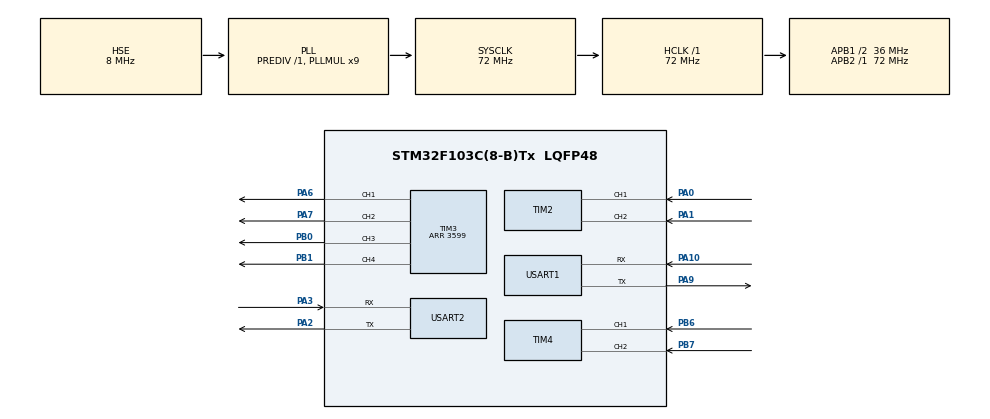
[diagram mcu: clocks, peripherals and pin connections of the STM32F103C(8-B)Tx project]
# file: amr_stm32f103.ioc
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Mcu.Family=STM32F1
Mcu.Name=STM32F103C(8-B)Tx
Mcu.Package=LQFP48
NVIC.PriorityGroup=NVIC_PRIORITYGROUP_4
NVIC.USART2_IRQn=true\:0\:0\:false\:false\:true\:true\:true\:true
PA0-WKUP.Signal=S_TIM2_CH1_ETR
PA1.Signal=S_TIM2_CH2
PA10.Mode=Asynchronous
PA10.Signal=USART1_RX
PA13.Mode=Serial_Wire
PA13.Signal=SYS_JTMS-SWDIO
PA14.Mode=Serial_Wire
PA14.Signal=SYS_JTCK-SWCLK
PA2.Mode=Asynchronous
PA2.Signal=USART2_TX
PA3.Mode=Asynchronous
PA3.Signal=USART2_RX
PA6.Signal=S_TIM3_CH1
PA7.Signal=S_TIM3_CH2
PA9.Mode=Asynchronous
PA9.Signal=USART1_TX
PB0.Signal=S_TIM3_CH3
PB1.Signal=S_TIM3_CH4
PB6.Signal=S_TIM4_CH1
PB7.Signal=S_TIM4_CH2
PD0-OSC_IN.Mode=HSE-External-Oscillator
PD0-OSC_IN.Signal=RCC_OSC_IN
PD1-OSC_OUT.Mode=HSE-External-Oscillator
PD1-OSC_OUT.Signal=RCC_OSC_OUT
ProjectManager.HeapSize=0x200
ProjectManager.StackSize=0x400
ProjectManager.TargetToolchain=STM32CubeIDE
RCC.AHBFreq_Value=72000000
RCC.APB1CLKDivider=RCC_HCLK_DIV2
RCC.APB1Freq_Value=36000000
RCC.APB1TimFreq_Value=72000000
RCC.APB2Freq_Value=72000000
RCC.APB2TimFreq_Value=72000000
RCC.HCLKFreq_Value=72000000
RCC.PLLMUL=RCC_PLL_MUL9
RCC.PLLSourceVirtual=RCC_PLLSOURCE_HSE
RCC.SYSCLKFreq_VALUE=72000000
RCC.SYSCLKSource=RCC_SYSCLKSOURCE_PLLCLK
RCC.USBFreq_Value=72000000
SH.S_TIM2_CH1_ETR.0=TIM2_CH1,Encoder_Interface
SH.S_TIM2_CH2.0=TIM2_CH2,Encoder_Interface
SH.S_TIM3_CH1.0=TIM3_CH1,PWM Generation1 CH1
SH.S_TIM3_CH2.0=TIM3_CH2,PWM Generation2 CH2
SH.S_TIM3_CH3.0=TIM3_CH3,PWM Generation3 CH3
SH.S_TIM3_CH4.0=TIM3_CH4,PWM Generation4 CH4
SH.S_TIM4_CH1.0=TIM4_CH1,Encoder_Interface
SH.S_TIM4_CH2.0=TIM4_CH2,Encoder_Interface
TIM2.EncoderMode=TIM_ENCODERMODE_TI12
TIM3.Channel-PWM\ Generation1\ CH1=TIM_CHANNEL_1
TIM3.Channel-PWM\ Generation2\ CH2=TIM_CHANNEL_2
TIM3.Channel-PWM\ Generation3\ CH3=TIM_CHANNEL_3
TIM3.Channel-PWM\ Generation4\ CH4=TIM_CHANNEL_4
TIM3.Period=3599
TIM4.EncoderMode=TIM_ENCODERMODE_TI12
USART1.VirtualMode=VM_ASYNC
USART2.VirtualMode=VM_ASYNC
board=custom

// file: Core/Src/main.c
/* USER CODE BEGIN Header */
/**
  ******************************************************************************
  * @file           : main.c
  * @brief          : Main program body
  ******************************************************************************
  * @attention
  *
  * Copyright (c) 2026 STMicroelectronics.
  * All rights reserved.
  *
  * This software is licensed under terms that can be found in the LICENSE file
  * in the root directory of this software component.
  * If no LICENSE file comes with this software, it is provided AS-IS.
  *
  ******************************************************************************
  */
/* USER CODE END Header */
#include "main.h"

/* USER CODE BEGIN Includes */
#include <stdio.h>          /* snprintf cho debug output */
#include "motor_driver.h"
#include "servo_buslinker.h"
#include "jetson_comm.h"
#include "ackermann.h"
/* USER CODE END Includes */

TIM_HandleTypeDef htim2;
TIM_HandleTypeDef htim3;
TIM_HandleTypeDef htim4;

UART_HandleTypeDef huart1;
UART_HandleTypeDef huart2;

/* USER CODE BEGIN PV */
static uint32_t last_odom_ms = 0;     /* Mốc thời gian gửi odom gần nhất */
static float    current_steer = 0.0f; /* Góc lái hiện tại (độ) để gửi lên Jetson */

/* ===== Watchdog lệnh $VEL từ Jetson (AN TOÀN — bắt buộc, xem giải thích ở
 * vòng lặp chính bên dưới). Nếu Jetson ngừng gửi lệnh (crash, kill node, rút
 * cáp USART2), STM32 phải tự dừng motor, không thể trông chờ Jetson luôn gửi
 * lệnh đều đặn. ===== */
#define VEL_WATCHDOG_TIMEOUT_MS   300U  /* CẦN TUNE thực nghiệm: đủ ngắn để an
                                          * toàn, đủ dài để không dừng nhầm do
                                          * jitter mạng/CPU phía Jetson */
static uint32_t last_vel_rx_ms       = 0; /* Mốc thời gian nhận $VEL hợp lệ gần nhất */
static uint8_t  vel_watchdog_tripped = 0; /* Tránh gọi SetSpeed(0,0) lặp lại mỗi vòng lặp */
/* USER CODE END PV */

void SystemClock_Config(void);
static void MX_GPIO_Init(void);
static void MX_TIM2_Init(void);
static void MX_TIM3_Init(void);
static void MX_TIM4_Init(void);
static void MX_USART1_UART_Init(void);
static void MX_USART2_UART_Init(void);
/* USER CODE BEGIN PFP */
static void on_cmd_vel(float linear, float angular);
/* USER CODE END PFP */

int main(void)
{

  /* MCU Configuration--------------------------------------------------------*/

  /* Reset of all peripherals, Initializes the Flash interface and the Systick. */
  HAL_Init();

  /* Configure the system clock */
  SystemClock_Config();

  /* Initialize all configured peripherals */
  MX_GPIO_Init();
  MX_TIM2_Init();
  MX_TIM3_Init();
  MX_TIM4_Init();
  MX_USART1_UART_Init();
  MX_USART2_UART_Init();
  /* USER CODE BEGIN 2 */
  HAL_Delay(500);          // Đủ để các module boot, không trigger motor timeout
  DRV_Motor_Init();        // Không check return — tiếp tục dù config fail
  DRV_Servo_Init();        // Servo về vị trí trung tâm (lái thẳng)
  APP_Comm_Init(on_cmd_vel); // Bật UART2 nhận lệnh "$VEL" từ Jetson
  /* USER CODE END 2 */

  /* Infinite loop */
  while (1)
  {

    /* USER CODE BEGIN 3 */
    /* ---- Gửi odometry lên Jetson định kỳ mỗi 10ms (100 Hz) ---- */
    uint32_t now = HAL_GetTick();
    if (now - last_odom_ms >= 10U) {
        last_odom_ms = now;

        /* Đọc encoder 2 bánh */
        int32_t enc_l = 0, enc_r = 0;
        DRV_Motor_GetEncoder(&enc_l, &enc_r);

        /* Gửi "$ODO,enc_l,enc_r,steer\n" lên Jetson */
        APP_Comm_SendOdom(enc_l, enc_r, current_steer);
    }

    /* ---- Xử lý lệnh "$VEL" nhận từ Jetson (gọi on_cmd_vel khi đủ frame) ---- */
    APP_Comm_Parse();

    /* ---- AN TOÀN: watchdog $VEL — xem giải thích đầy đủ ở khai báo biến
     * last_vel_rx_ms phía trên. ---- */
    if (last_vel_rx_ms != 0U && !vel_watchdog_tripped &&
        (now - last_vel_rx_ms) > VEL_WATCHDOG_TIMEOUT_MS) {
        DRV_Motor_SetSpeed(0, 0);
        vel_watchdog_tripped = 1U;
    }
  }
  /* USER CODE END 3 */
}

void SystemClock_Config(void)
{
  RCC_OscInitTypeDef RCC_OscInitStruct = {0};
  RCC_ClkInitTypeDef RCC_ClkInitStruct = {0};

  /** Initializes the RCC Oscillators according to the specified parameters
  * in the RCC_OscInitTypeDef structure.
  */
  RCC_OscInitStruct.OscillatorType = RCC_OSCILLATORTYPE_HSE;
  RCC_OscInitStruct.HSEState = RCC_HSE_ON;
  RCC_OscInitStruct.HSEPredivValue = RCC_HSE_PREDIV_DIV1;
  RCC_OscInitStruct.HSIState = RCC_HSI_ON;
  RCC_OscInitStruct.PLL.PLLState = RCC_PLL_ON;
  RCC_OscInitStruct.PLL.PLLSource = RCC_PLLSOURCE_HSE;
  RCC_OscInitStruct.PLL.PLLMUL = RCC_PLL_MUL9;
  if (HAL_RCC_OscConfig(&RCC_OscInitStruct) != HAL_OK)
  {
    Error_Handler();
  }

  /** Initializes the CPU, AHB and APB buses clocks
  */
  RCC_ClkInitStruct.ClockType = RCC_CLOCKTYPE_HCLK|RCC_CLOCKTYPE_SYSCLK
                              |RCC_CLOCKTYPE_PCLK1|RCC_CLOCKTYPE_PCLK2;
  RCC_ClkInitStruct.SYSCLKSource = RCC_SYSCLKSOURCE_PLLCLK;
  RCC_ClkInitStruct.AHBCLKDivider = RCC_SYSCLK_DIV1;
  RCC_ClkInitStruct.APB1CLKDivider = RCC_HCLK_DIV2;
  RCC_ClkInitStruct.APB2CLKDivider = RCC_HCLK_DIV1;

  if (HAL_RCC_ClockConfig(&RCC_ClkInitStruct, FLASH_LATENCY_2) != HAL_OK)
  {
    Error_Handler();
  }
}

static void MX_TIM2_Init(void)
{

  TIM_Encoder_InitTypeDef sConfig = {0};
  TIM_MasterConfigTypeDef sMasterConfig = {0};

  htim2.Instance = TIM2;
  htim2.Init.Prescaler = 0;
  htim2.Init.CounterMode = TIM_COUNTERMODE_UP;
  htim2.Init.Period = 65535;
  htim2.Init.ClockDivision = TIM_CLOCKDIVISION_DIV1;
  htim2.Init.AutoReloadPreload = TIM_AUTORELOAD_PRELOAD_DISABLE;
  sConfig.EncoderMode = TIM_ENCODERMODE_TI12;
  sConfig.IC1Polarity = TIM_ICPOLARITY_RISING;
  sConfig.IC1Selection = TIM_ICSELECTION_DIRECTTI;
  sConfig.IC1Prescaler = TIM_ICPSC_DIV1;
  sConfig.IC1Filter = 0;
  sConfig.IC2Polarity = TIM_ICPOLARITY_RISING;
  sConfig.IC2Selection = TIM_ICSELECTION_DIRECTTI;
  sConfig.IC2Prescaler = TIM_ICPSC_DIV1;
  sConfig.IC2Filter = 0;
  if (HAL_TIM_Encoder_Init(&htim2, &sConfig) != HAL_OK)
  {
    Error_Handler();
  }
  sMasterConfig.MasterOutputTrigger = TIM_TRGO_RESET;
  sMasterConfig.MasterSlaveMode = TIM_MASTERSLAVEMODE_DISABLE;
  if (HAL_TIMEx_MasterConfigSynchronization(&htim2, &sMasterConfig) != HAL_OK)
  {
    Error_Handler();
  }

}

static void MX_TIM3_Init(void)
{

  TIM_MasterConfigTypeDef sMasterConfig = {0};
  TIM_OC_InitTypeDef sConfigOC = {0};

  htim3.Instance = TIM3;
  htim3.Init.Prescaler = 0;
  htim3.Init.CounterMode = TIM_COUNTERMODE_UP;
  htim3.Init.Period = 3599;
  htim3.Init.ClockDivision = TIM_CLOCKDIVISION_DIV1;
  htim3.Init.AutoReloadPreload = TIM_AUTORELOAD_PRELOAD_DISABLE;
  if (HAL_TIM_PWM_Init(&htim3) != HAL_OK)
  {
    Error_Handler();
  }
  sMasterConfig.MasterOutputTrigger = TIM_TRGO_RESET;
  sMasterConfig.MasterSlaveMode = TIM_MASTERSLAVEMODE_DISABLE;
  if (HAL_TIMEx_MasterConfigSynchronization(&htim3, &sMasterConfig) != HAL_OK)
  {
    Error_Handler();
  }
  sConfigOC.OCMode = TIM_OCMODE_PWM1;
  sConfigOC.Pulse = 0;
  sConfigOC.OCPolarity = TIM_OCPOLARITY_HIGH;
  sConfigOC.OCFastMode = TIM_OCFAST_DISABLE;
  if (HAL_TIM_PWM_ConfigChannel(&htim3, &sConfigOC, TIM_CHANNEL_1) != HAL_OK)
  {
    Error_Handler();
  }
  if (HAL_TIM_PWM_ConfigChannel(&htim3, &sConfigOC, TIM_CHANNEL_2) != HAL_OK)
  {
    Error_Handler();
  }
  if (HAL_TIM_PWM_ConfigChannel(&htim3, &sConfigOC, TIM_CHANNEL_3) != HAL_OK)
  {
    Error_Handler();
  }
  if (HAL_TIM_PWM_ConfigChannel(&htim3, &sConfigOC, TIM_CHANNEL_4) != HAL_OK)
  {
    Error_Handler();
  }
  HAL_TIM_MspPostInit(&htim3);

}

static void MX_TIM4_Init(void)
{

  TIM_Encoder_InitTypeDef sConfig = {0};
  TIM_MasterConfigTypeDef sMasterConfig = {0};

  htim4.Instance = TIM4;
  htim4.Init.Prescaler = 0;
  htim4.Init.CounterMode = TIM_COUNTERMODE_UP;
  htim4.Init.Period = 65535;
  htim4.Init.ClockDivision = TIM_CLOCKDIVISION_DIV1;
  htim4.Init.AutoReloadPreload = TIM_AUTORELOAD_PRELOAD_DISABLE;
  sConfig.EncoderMode = TIM_ENCODERMODE_TI12;
  sConfig.IC1Polarity = TIM_ICPOLARITY_RISING;
  sConfig.IC1Selection = TIM_ICSELECTION_DIRECTTI;
  sConfig.IC1Prescaler = TIM_ICPSC_DIV1;
  sConfig.IC1Filter = 0;
  sConfig.IC2Polarity = TIM_ICPOLARITY_RISING;
  sConfig.IC2Selection = TIM_ICSELECTION_DIRECTTI;
  sConfig.IC2Prescaler = TIM_ICPSC_DIV1;
  sConfig.IC2Filter = 0;
  if (HAL_TIM_Encoder_Init(&htim4, &sConfig) != HAL_OK)
  {
    Error_Handler();
  }
  sMasterConfig.MasterOutputTrigger = TIM_TRGO_RESET;
  sMasterConfig.MasterSlaveMode = TIM_MASTERSLAVEMODE_DISABLE;
  if (HAL_TIMEx_MasterConfigSynchronization(&htim4, &sMasterConfig) != HAL_OK)
  {
    Error_Handler();
  }

}

static void MX_USART1_UART_Init(void)
{

  huart1.Instance = USART1;
  huart1.Init.BaudRate = 115200;
  huart1.Init.WordLength = UART_WORDLENGTH_8B;
  huart1.Init.StopBits = UART_STOPBITS_1;
  huart1.Init.Parity = UART_PARITY_NONE;
  huart1.Init.Mode = UART_MODE_TX_RX;
  huart1.Init.HwFlowCtl = UART_HWCONTROL_NONE;
  huart1.Init.OverSampling = UART_OVERSAMPLING_16;
  if (HAL_UART_Init(&huart1) != HAL_OK)
  {
    Error_Handler();
  }

}

static void MX_USART2_UART_Init(void)
{

  huart2.Instance = USART2;
  huart2.Init.BaudRate = 115200;
  huart2.Init.WordLength = UART_WORDLENGTH_8B;
  huart2.Init.StopBits = UART_STOPBITS_1;
  huart2.Init.Parity = UART_PARITY_NONE;
  huart2.Init.Mode = UART_MODE_TX_RX;
  huart2.Init.HwFlowCtl = UART_HWCONTROL_NONE;
  huart2.Init.OverSampling = UART_OVERSAMPLING_16;
  if (HAL_UART_Init(&huart2) != HAL_OK)
  {
    Error_Handler();
  }

}

static void MX_GPIO_Init(void)
{

  /* GPIO Ports Clock Enable */
  __HAL_RCC_GPIOD_CLK_ENABLE();
  __HAL_RCC_GPIOA_CLK_ENABLE();
  __HAL_RCC_GPIOB_CLK_ENABLE();

}

/* USER CODE BEGIN 4 */
/**
 * @brief  Callback nhận lệnh cmd_vel từ Jetson qua UART2.
 *         Gọi tự động từ APP_Comm_Parse() khi parse đủ 1 lệnh "$VEL" hợp lệ.
 * @note   Quy đổi Twist -> Ackermann nằm trong CALC_Ackermann (ackermann.c).
 *         Kiểm tra chiều quay motor và chiều lái servo trước khi chạy tự động.
 */
static void on_cmd_vel(float linear, float angular)
{
    int8_t spd_l, spd_r;
    /* Quy đổi cmd_vel -> tốc độ 2 bánh + góc lái; lưu góc lái để gửi odom */
    CALC_Ackermann(linear, angular, &spd_l, &spd_r, &current_steer);

    DRV_Motor_SetSpeed(spd_l, spd_r);
    DRV_Servo_SetAngle(current_steer);

    /* AN TOÀN: ghi nhận mốc thời gian nhận $VEL hợp lệ, reset cờ watchdog để
     * lần mất kết nối SAU vẫn phát hiện được (xem watchdog trong vòng lặp
     * chính, khai báo biến ở USER CODE PV). */
    last_vel_rx_ms       = HAL_GetTick();
    vel_watchdog_tripped = 0U;
}
/* USER CODE END 4 */

void Error_Handler(void)
{
  __disable_irq();
  while (1)
  {
  }
}
